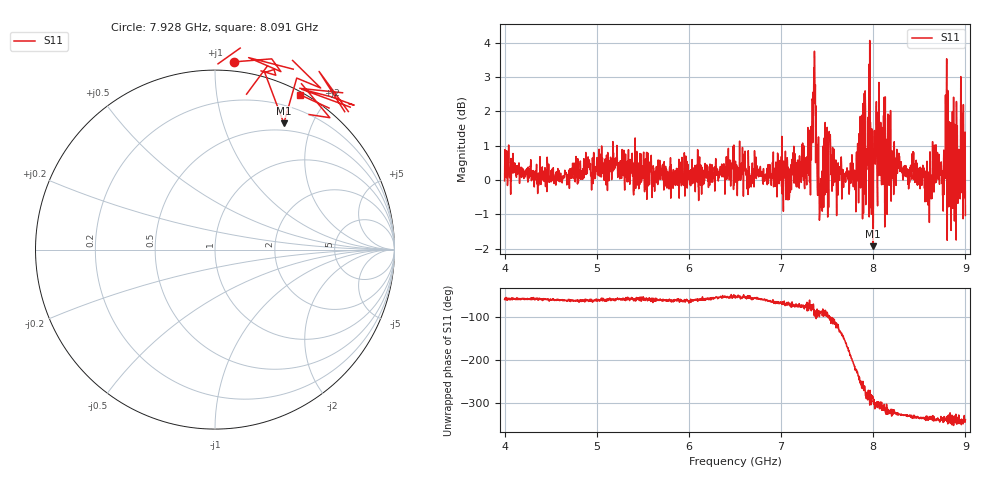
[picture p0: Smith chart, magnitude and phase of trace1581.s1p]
! Created with skrf 1.8.0 (http://scikit-rf.org).
# Hz S RI R 50.0
!freq ReS11 ImS11
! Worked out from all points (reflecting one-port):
!   1601 points, 4 GHz to 9 GHz, reference 50 ohm
!   lowest |S11| = -1.9 dB at 8 GHz (marker M1), VSWR 9.06, Z = 20.4 + j80.4 ohm
!   phase of S11 starts at -59 deg and turns -280 deg over the sweep
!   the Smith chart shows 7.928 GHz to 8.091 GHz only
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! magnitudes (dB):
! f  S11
! 4 GHz  0.0
! 4.625 GHz  -0.1
! 5.25 GHz  0.0
! 5.875 GHz  0.1
! 6.5 GHz  0.2
! 7.075 GHz  -0.6
! 7.125 GHz  0.4
! 7.294 GHz  0.3
! 7.356 GHz  3.3
! 7.381 GHz  1.4
! 7.409 GHz  0.1
! 7.428 GHz  -0.5
! 7.512 GHz  0.8
! 7.591 GHz  0.3
! 7.75 GHz  -0.1
! 7.916 GHz  2.1
! 7.928 GHz  0.4
! 8 GHz  -1.9
! 8.038 GHz  1.4
! 8.375 GHz  0.2
! 8.612 GHz  0.0
! 8.666 GHz  1.0
! 8.756 GHz  0.2
! 8.8 GHz  0.5
! 8.875 GHz  0.1
! 8.953 GHz  -0.4
! 8.972 GHz  0.8
! 9 GHz  -1.0
